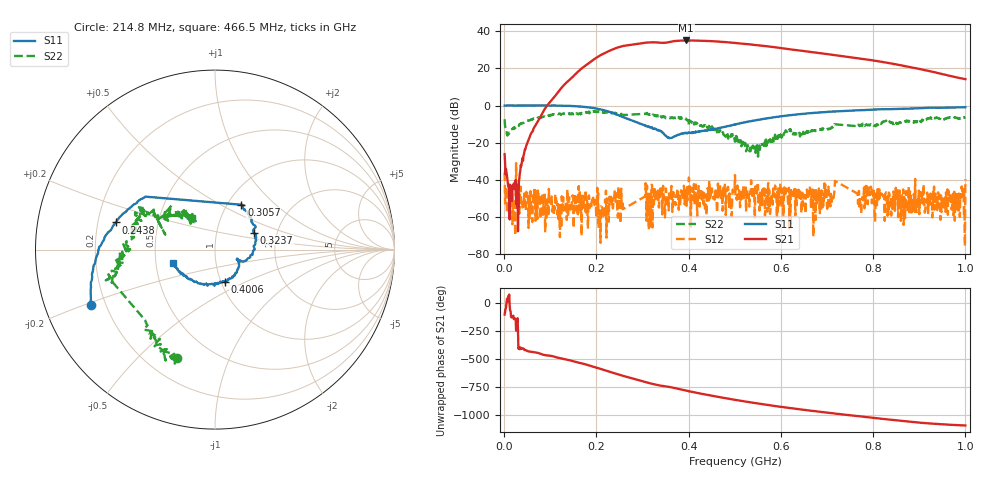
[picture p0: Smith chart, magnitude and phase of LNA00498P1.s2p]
! Created with skrf 1.9.0 (http://scikit-rf.org).
# Hz S RI R 50.0
!freq ReS11 ImS11 ReS21 ImS21 ReS12 ImS12 ReS22 ImS22
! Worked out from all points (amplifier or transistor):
!   907 points, 1 MHz to 1 GHz, reference 50 ohm
!   highest |S21| = 35.0 dB at 394.6 MHz (marker M1)
!   |S21| within 3 dB of that: 257.4 MHz to 565.5 MHz (308.1 MHz wide, 74.9 % of centre)
!   unconditionally stable (mu >= 1): 309.9 MHz to 500.5 MHz; 500.5 MHz to 891.1 MHz; 891.1 MHz to 1 GHz (the widest 3 of 36)
!   at 151.8 MHz: K = 0.60, MSG = 32.6 dB, |S12| = -49.0 dB
!   at 500.5 MHz: K = 0.99, MSG = 35.6 dB, |S12| = -37.4 dB
!   at 1 GHz: K = 1.00, MSG = 26.9 dB, |S12| = -39.6 dB
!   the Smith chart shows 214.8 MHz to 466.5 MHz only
!   S11 on the Smith chart (normalised r, x): 214.8 MHz: 0.15, -0.21; 243.8 MHz: 0.28, +0.12; 305.7 MHz: 1.16, +0.63; 323.7 MHz: 1.51, +0.30; 400.6 MHz: 1.04, -0.39; 466.5 MHz: 0.61, -0.10
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1000000  0.9919 0.00849  -0.0117 -0.048  -0.0143 -0.00701  0.2909 0.3083
1.08892e8  0.5242 -0.8457  -0.8119 -1.516  -0.000136 0.0019  0.4248 -0.3749
1.67833e8  -0.2253 -0.9058  -9.848 -0.5813  -8.15e-05 0.000298  0.0436 -0.6319
2.14786e8  -0.6902 -0.3073  -14.73 19.62  -0.000476 0.000838  -0.2098 -0.6034
2.43757e8  -0.553 0.1512  0.3849 35.43  -0.000844 -0.00338  -0.3169 -0.5219
2.53747e8  -0.4368 0.2586  8.53 37.54  0.000397 -0.0058  -0.3969 -0.4456
2.57743e8  -0.3879 0.2951  12.22 38  -5.92e-05 0.00163  -0.3898 -0.3926
3.05695e8  0.1471 0.25  46.63 14.37  -0.003 0.00197  -0.5717 -0.18
3.09691e8  0.1632 0.2227  48.27 10.99  -0.00684 -0.00204  -0.6086 -0.1715
3.23677e8  0.2158 0.0945  49.99 -1.158  -0.000329 -0.00238  -0.5434 -0.0895
3.34666e8  0.2153 -0.00439  48.41 -9.711  0.0018 0.00126  -0.5241 -0.049
3.69631e8  0.1348 -0.0647  43.74 -31.71  -0.00219 0.00107  -0.4326 0.1573
3.94606e8  0.0883 -0.161  28.99 -48.15  0.00037 0.0043  -0.3961 0.1948
4.006e8  0.0534 -0.1822  21.58 -49.19  0.0116 0.000514  -0.277 0.0831
4.32568e8  -0.095 -0.1869  -0.7683 -54.83  0.00124 0.00181  -0.1938 0.1985
4.66534e8  -0.2348 -0.0754  -23.49 -46.39  0.00515 0.00219  -0.1296 0.1735
5.005e8  -0.2961 0.1086  -37.74 -30.45  0.0131 0.0032  -0.0606 0.0872
5.86414e8  -0.06 0.4814  -35.7 9.88  0.00307 -0.00149  -0.1108 -0.0536
6.67333e8  0.3173 0.5415  -14.01 23.2  0.00354 -0.00423  -0.2016 -0.038
7.17283e8  0.5109 0.4663  -2.761 22.43  -0.000617 -0.00936  -0.3126 0.00647
8.34166e8  0.7832 0.1531  9.953 9.62  -0.00409 -0.00202  -0.3796 0.0195
1e9  0.8191 -0.3743  5.072 -0.7624  -0.0083 0.00632  -0.3254 0.3525
